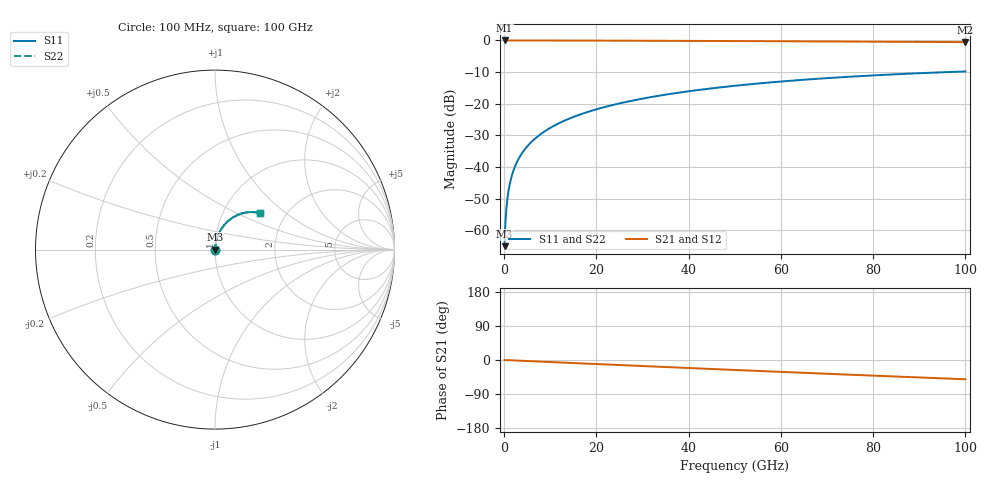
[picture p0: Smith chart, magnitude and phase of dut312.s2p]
! Touchstone file exported from HFSS 2026.1.0
!  File:  C:/ffzhzh/LocalFiles/Ansys_Project_Files/temp_train_TSV_312_1783509372_44152.aedt
!  Generated:  07:17:28 PM Jul  8, 2026
!  Design:  TSV
!  Project:  temp_train_TSV_312_1783509372_44152
! Variables:
!  h_bsmrdl = 2um
!  h_ox = 20um
!  h_rdl = 5um
!  h_sub = 95.43um
!  h_tmrdl = 5um
!  h_tsv = 95.43um
!  h_via = 3um
!  l_bsmrdl = 300um
!  l_sub = 412.14um
!  l_tmrdl = 200um
!  m_sub = 200um
!  pitch = 49.06um
!  r_tsv = 6.07um
!  s_tmrdl = 10um
!  w_bsmrdl = 18um
!  w_sub = 500um
!  w_tmrdl = 12um
!  x_tsv_center1 = 206um
!  x_tsv_center2 = 524um
!  x_tsv_center3 = 736um
!  x_tsv_center4 = 1054um
!  x_tsv_center5 = 1266um
!  x_tsv_center6 = 1584um
# GHz S MA R 50.000000
! Terminal data exported
! Port[1] = TSV1_1_T1
! Port[2] = TSV1_1_T2
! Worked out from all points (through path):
!   1000 points, 100 MHz to 100 GHz, reference 50 ohm
!   highest |S21| = 0.00 dB at 100 MHz (marker M1); lowest = -0.5 dB at 100 GHz (marker M2)
!   group delay of S21, straight-line fit = 1.41 ps
!   lowest |S11| = -65.0 dB at 100 MHz (marker M3), VSWR 1.00, Z = 50 + j0.0461 ohm
!   |S11| at or under -10 dB: start of sweep to 95.91 GHz
!   |S22| runs from -65.0 to -9.8 dB; largest |S21 - S12| = 4.4e-15
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0.1  0.0005656 54.5  0.9997 -0.1  0.9997 -0.1  0.0005656 54.5
! Gamma 0 0 0 0
! Port Impedance 50 0 50 0
0.4  0.001838 78.1  0.9996 -0.2  0.9996 -0.2  0.001838 78.1
0.7  0.003145 82.1  0.9996 -0.4  0.9996 -0.4  0.003145 82.1
0.8  0.003581 82.8  0.9996 -0.4  0.9996 -0.4  0.003581 82.8
1  0.004452 83.6  0.9995 -0.6  0.9995 -0.6  0.004452 83.6
1.3  0.005753 84.3  0.9995 -0.7  0.9995 -0.7  0.005753 84.3
1.7  0.007473 84.7  0.9994 -0.9  0.9994 -0.9  0.007473 84.7
2.3  0.01002 84.8  0.9993 -1.3  0.9993 -1.3  0.01002 84.8
3  0.01296 84.8  0.9991 -1.6  0.9991 -1.6  0.01296 84.8
3.8  0.01628 84.7  0.9989 -2.1  0.9989 -2.1  0.01628 84.7
4.8  0.02041 84.5  0.9987 -2.6  0.9987 -2.6  0.02041 84.5
6  0.02535 84.1  0.9985 -3.2  0.9985 -3.2  0.02535 84.1
8.8  0.03681 83.1  0.9979 -4.7  0.9979 -4.7  0.03681 83.1
12.4  0.05144 81.4  0.997 -6.7  0.997 -6.7  0.05144 81.4
16.8  0.06911 79.4  0.9956 -9.0  0.9956 -9.0  0.06911 79.4
24.2  0.0983 75.7  0.9928 -12.9  0.9928 -12.9  0.0983 75.7
33.4  0.1334 71.1  0.9883 -17.7  0.9883 -17.7  0.1334 71.1
41.2  0.1619 67.2  0.9838 -21.8  0.9838 -21.8  0.1619 67.2
50.1  0.1928 62.7  0.978 -26.4  0.978 -26.4  0.1928 62.7
66.7  0.2448 54.5  0.966 -34.7  0.966 -34.7  0.2448 54.5
83.4  0.289 46.4  0.9534 -42.9  0.9534 -42.9  0.289 46.4
100  0.324 38.5  0.9419 -50.9  0.9419 -50.9  0.324 38.5
